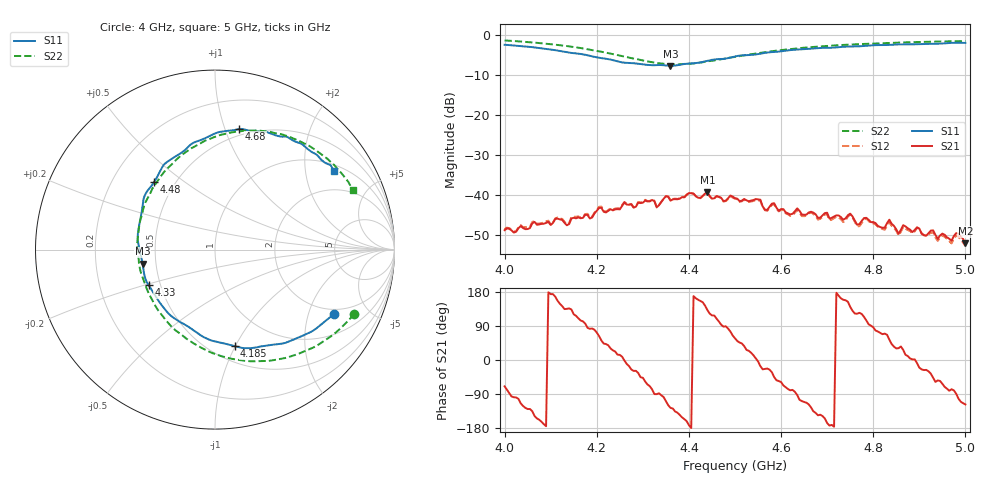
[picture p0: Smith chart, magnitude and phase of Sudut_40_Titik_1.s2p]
# Hz S RI R 50
! CMT, C1220, 16058040, 17.2.0/1
! Date: 15/08/2018 11:30:13
! Data: Format (Calibration Info)
! Freq  S11: Re/Im (F2)  S21: Re/Im (F2)  S12: Re/Im (F2)  S22: Re/Im (F2)
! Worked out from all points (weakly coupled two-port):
!   201 points, 4 GHz to 5 GHz, reference 50 ohm
!   highest |S21| = -39.22 dB at 4.44 GHz (marker M1); lowest = -52.0 dB at 5 GHz (marker M2)
!   lowest |S11| = -7.7 dB at 4.36 GHz (marker M3), VSWR 2.40, Z = 21 - j3.95 ohm
!   |S11| at or under -10 dB: nowhere
!   |S22| runs from -7.4 to -1.4 dB; largest |S21 - S12| = 0.00039
!   S11 on the Smith chart (normalised r, x): 4 GHz: 1.79, -2.96; 4.185 GHz: 0.64, -0.99; 4.33 GHz: 0.43, -0.21; 4.48 GHz: 0.38, +0.39; 4.68 GHz: 0.44, +1.12; 5 GHz: 1.20, +2.86
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4e9  0.663 -0.3575  0.00128 -0.00343  0.00143 -0.0035  0.774 -0.3569
4.17e9  0.1611 -0.5493  -0.00108 0.0051  -0.00123 0.00522  0.2722 -0.6207
4.185e9  0.1087 -0.5382  0.000685 0.00507  0.000693 0.00524  0.2088 -0.6225
4.26e9  -0.1714 -0.4159  0.0081 -0.000187  0.00824 -0.000246  -0.1172 -0.5237
4.33e9  -0.3702 -0.1979  -1.54e-05 -0.00705  -0.00011 -0.00713  -0.3559 -0.27
4.335e9  -0.3804 -0.1803  0.000294 -0.00749  0.000173 -0.00755  -0.3679 -0.2468
4.36e9  -0.4036 -0.0782  -0.00506 -0.0069  -0.00521 -0.00698  -0.4133 -0.1267
4.44e9  -0.4022 0.2522  -0.00731 0.00814  -0.00708 0.00815  -0.3884 0.2609
4.48e9  -0.3391 0.3767  0.000151 0.00856  0.000386 0.00843  -0.3004 0.4106
4.5e9  -0.3005 0.4471  0.00494 0.00775  0.00493 0.00759  -0.2455 0.4707
4.67e9  0.1175 0.6677  -0.00431 -0.00426  -0.00421 -0.00407  0.2485 0.6629
4.68e9  0.1363 0.6721  -0.00432 -0.00292  -0.00413 -0.00275  0.2736 0.6598
4.75e9  0.2919 0.6537  -0.00453 0.00376  -0.00448 0.00359  0.4348 0.6195
4.765e9  0.3245 0.6411  -0.00227 0.00362  -0.0022 0.00345  0.4639 0.6086
4.785e9  0.3722 0.6292  -0.0013 0.00505  -0.00136 0.00495  0.5028 0.5892
4.82e9  0.4205 0.6163  0.00146 0.00364  0.00149 0.00348  0.5609 0.5543
4.835e9  0.4474 0.6018  0.00294 0.00398  0.00269 0.00373  0.5838 0.5372
4.855e9  0.4791 0.5909  0.00282 0.0017  0.00269 0.00166  0.6138 0.515
4.895e9  0.5354 0.5464  0.00393 -0.000564  0.0039 -0.000392  0.6659 0.4694
4.94e9  0.5939 0.4986  0.00169 -0.00231  0.00163 -0.00215  0.715 0.413
4.985e9  0.6487 0.4633  -0.000684 -0.00324  -0.000562 -0.00298  0.7558 0.354
5e9  0.6616 0.4398  -0.00115 -0.00223  -0.000936 -0.00211  0.7696 0.3342
